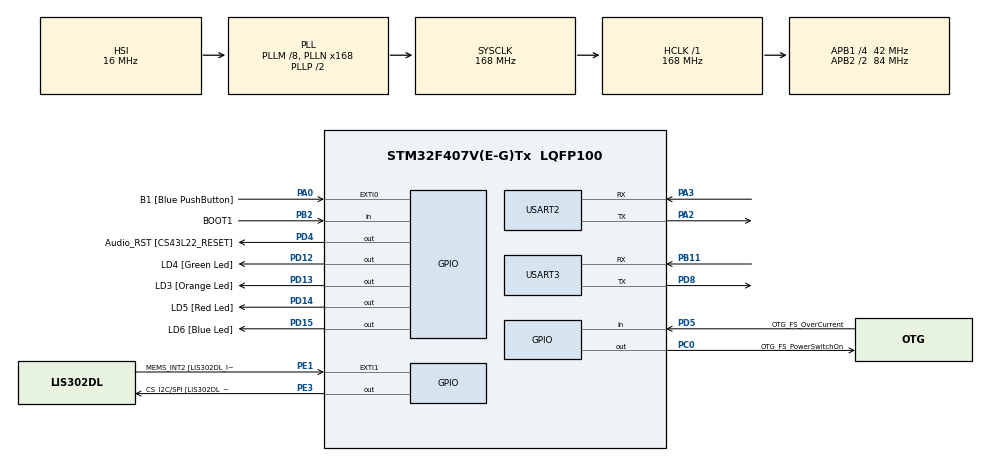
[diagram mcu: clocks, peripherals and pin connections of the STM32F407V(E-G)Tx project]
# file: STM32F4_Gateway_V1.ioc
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FREERTOS.BinarySemaphores01=myBinarySem01;myBinarySem02
FREERTOS.Mutexes01=myMutex01;myMutex02
FREERTOS.Queues01=myQueue01,16,uint16_t,NULL;myQueue02,16,uint16_t,NULL
FREERTOS.Tasks01=defaultTask,0,128,StartDefaultTask,Default;myTask02,0,128,StartTask02,Default;myTask03,0,128,StartTask03,Default;myTask04,0,128,StartTask04,Default
Mcu.Family=STM32F4
Mcu.Name=STM32F407V(E-G)Tx
Mcu.Package=LQFP100
NVIC.PriorityGroup=NVIC_PRIORITYGROUP_4
NVIC.USART2_IRQn=true\:5\:0\:false\:false\:true
NVIC.USART3_IRQn=true\:5\:0\:false\:false\:true
PA0-WKUP.GPIO_Label=B1 [Blue PushButton]
PA0-WKUP.GPIO_ModeDefaultEXTI=GPIO_MODE_EVT_RISING
PA0-WKUP.GPIO_PuPd=GPIO_NOPULL
PA0-WKUP.Signal=GPXTI0
PA10.GPIO_Label=OTG_FS_ID
PA10.GPIO_Mode=GPIO_MODE_AF_PP
PA10.GPIO_PuPd=GPIO_NOPULL
PA10.GPIO_Speed=GPIO_SPEED_FREQ_LOW
PA10.Signal=USB_OTG_FS_ID
PA11.GPIO_Label=OTG_FS_DM
PA11.GPIO_Mode=GPIO_MODE_AF_PP
PA11.GPIO_PuPd=GPIO_NOPULL
PA11.GPIO_Speed=GPIO_SPEED_FREQ_LOW
PA11.Signal=USB_OTG_FS_DM
PA12.GPIO_Label=OTG_FS_DP
PA12.GPIO_Mode=GPIO_MODE_AF_PP
PA12.GPIO_PuPd=GPIO_NOPULL
PA12.GPIO_Speed=GPIO_SPEED_FREQ_LOW
PA12.Signal=USB_OTG_FS_DP
PA13.GPIO_Label=SWDIO
PA13.Signal=SYS_JTMS-SWDIO
PA14.GPIO_Label=SWCLK
PA14.Signal=SYS_JTCK-SWCLK
PA2.Mode=Asynchronous
PA2.Signal=USART2_TX
PA3.Mode=Asynchronous
PA3.Signal=USART2_RX
PA4.GPIO_Label=I2S3_WS [CS43L22_LRCK]
PA4.GPIO_Mode=GPIO_MODE_AF_PP
PA4.GPIO_PuPd=GPIO_NOPULL
PA4.GPIO_Speed=GPIO_SPEED_FREQ_LOW
PA4.Signal=I2S3_WS
PA5.GPIO_Label=SPI1_SCK [LIS302DL_SCL/SPC]
PA5.GPIO_Mode=GPIO_MODE_AF_PP
PA5.GPIO_PuPd=GPIO_NOPULL
PA5.GPIO_Speed=GPIO_SPEED_FREQ_LOW
PA5.Signal=SPI1_SCK
PA6.GPIO_Label=SPI1_MISO [LIS302DL_SDO]
PA6.GPIO_Mode=GPIO_MODE_AF_PP
PA6.GPIO_PuPd=GPIO_NOPULL
PA6.GPIO_Speed=GPIO_SPEED_FREQ_LOW
PA6.Signal=SPI1_MISO
PA7.GPIO_Label=SPI1_MOSI [LIS302DL_SDA/SDI/SDO]
PA7.GPIO_Mode=GPIO_MODE_AF_PP
PA7.GPIO_PuPd=GPIO_NOPULL
PA7.GPIO_Speed=GPIO_SPEED_FREQ_LOW
PA7.Signal=SPI1_MOSI
PA9.GPIO_Label=VBUS_FS
PA9.GPIO_Mode=GPIO_MODE_INPUT
PA9.GPIO_PuPd=GPIO_NOPULL
PA9.Signal=USB_OTG_FS_VBUS
PB10.GPIO_Label=CLK_IN [MP45DT02_CLK]
PB10.GPIO_Mode=GPIO_MODE_AF_PP
PB10.GPIO_PuPd=GPIO_NOPULL
PB10.GPIO_Speed=GPIO_SPEED_FREQ_LOW
PB10.Signal=I2S2_CK
PB11.Mode=Asynchronous
PB11.Signal=USART3_RX
PB2.GPIO_Label=BOOT1
PB2.GPIO_Mode=GPIO_MODE_INPUT
PB2.GPIO_PuPd=GPIO_NOPULL
PB2.Signal=GPIO_Input
PB3.GPIO_Label=SWO
PB3.Signal=SYS_JTDO-SWO
PB6.GPIO_Label=Audio_SCL [CS43L22_SCL]
PB6.GPIO_Mode=GPIO_MODE_AF_OD
PB6.GPIO_PuPd=GPIO_NOPULL
PB6.GPIO_Speed=GPIO_SPEED_FREQ_LOW
PB6.Signal=I2C1_SCL
PB9.GPIO_Label=Audio_SDA [CS43L22_SDA]
PB9.GPIO_Mode=GPIO_MODE_AF_OD
PB9.GPIO_PuPd=GPIO_NOPULL
PB9.GPIO_Speed=GPIO_SPEED_FREQ_LOW
PB9.Signal=I2C1_SDA
PC0.GPIO_Label=OTG_FS_PowerSwitchOn
PC0.GPIO_PuPd=GPIO_NOPULL
PC0.GPIO_Speed=GPIO_SPEED_FREQ_LOW
PC0.Signal=GPIO_Output
PC10.GPIO_Label=I2S3_SCK [CS43L22_SCLK]
PC10.GPIO_Mode=GPIO_MODE_AF_PP
PC10.GPIO_PuPd=GPIO_NOPULL
PC10.GPIO_Speed=GPIO_SPEED_FREQ_LOW
PC10.Signal=I2S3_CK
PC12.GPIO_Label=I2S3_SD [CS43L22_SDIN]
PC12.GPIO_Mode=GPIO_MODE_AF_PP
PC12.GPIO_PuPd=GPIO_NOPULL
PC12.GPIO_Speed=GPIO_SPEED_FREQ_LOW
PC12.Signal=I2S3_SD
PC14-OSC32_IN.GPIO_Label=PC14-OSC32_IN
PC14-OSC32_IN.Signal=RCC_OSC32_IN
PC15-OSC32_OUT.GPIO_Label=PC15-OSC32_OUT
PC15-OSC32_OUT.Signal=RCC_OSC32_OUT
PC3.GPIO_Label=PDM_OUT [MP45DT02_DOUT]
PC3.GPIO_Mode=GPIO_MODE_AF_PP
PC3.GPIO_PuPd=GPIO_NOPULL
PC3.GPIO_Speed=GPIO_SPEED_FREQ_LOW
PC3.Signal=I2S2_SD
PC7.GPIO_Label=I2S3_MCK [CS43L22_MCLK]
PC7.GPIO_Mode=GPIO_MODE_AF_PP
PC7.GPIO_PuPd=GPIO_NOPULL
PC7.GPIO_Speed=GPIO_SPEED_FREQ_LOW
PC7.Signal=I2S3_MCK
PD12.GPIO_Label=LD4 [Green Led]
PD12.GPIO_PuPd=GPIO_NOPULL
PD12.GPIO_Speed=GPIO_SPEED_FREQ_LOW
PD12.Signal=GPIO_Output
PD13.GPIO_Label=LD3 [Orange Led]
PD13.GPIO_PuPd=GPIO_NOPULL
PD13.GPIO_Speed=GPIO_SPEED_FREQ_LOW
PD13.Signal=GPIO_Output
PD14.GPIO_Label=LD5 [Red Led]
PD14.GPIO_PuPd=GPIO_NOPULL
PD14.GPIO_Speed=GPIO_SPEED_FREQ_LOW
PD14.Signal=GPIO_Output
PD15.GPIO_Label=LD6 [Blue Led]
PD15.GPIO_PuPd=GPIO_NOPULL
PD15.GPIO_Speed=GPIO_SPEED_FREQ_LOW
PD15.Signal=GPIO_Output
PD4.GPIO_Label=Audio_RST [CS43L22_RESET]
PD4.GPIO_PuPd=GPIO_NOPULL
PD4.GPIO_Speed=GPIO_SPEED_FREQ_LOW
PD4.Signal=GPIO_Output
PD5.GPIO_Label=OTG_FS_OverCurrent
PD5.GPIO_Mode=GPIO_MODE_INPUT
PD5.GPIO_PuPd=GPIO_NOPULL
PD5.Signal=GPIO_Input
PD8.Mode=Asynchronous
PD8.Signal=USART3_TX
PE1.GPIO_Label=MEMS_INT2 [LIS302DL_INT2]
PE1.GPIO_ModeDefaultEXTI=GPIO_MODE_EVT_RISING
PE1.GPIO_PuPd=GPIO_NOPULL
PE1.Signal=GPXTI1
PE3.GPIO_Label=CS_I2C/SPI [LIS302DL_CS_I2C/SPI]
PE3.GPIO_PuPd=GPIO_NOPULL
PE3.GPIO_Speed=GPIO_SPEED_FREQ_LOW
PE3.Signal=GPIO_Output
PH0-OSC_IN.GPIO_Label=PH0-OSC_IN
PH0-OSC_IN.Signal=RCC_OSC_IN
PH1-OSC_OUT.GPIO_Label=PH1-OSC_OUT
PH1-OSC_OUT.Signal=RCC_OSC_OUT
ProjectManager.HeapSize=0x200
ProjectManager.StackSize=0x400
ProjectManager.TargetToolchain=MDK-ARM V5
RCC.48MHZClocksFreq_Value=48000000
RCC.AHBFreq_Value=168000000
RCC.APB1CLKDivider=RCC_HCLK_DIV4
RCC.APB1Freq_Value=42000000
RCC.APB1TimFreq_Value=84000000
RCC.APB2CLKDivider=RCC_HCLK_DIV2
RCC.APB2Freq_Value=84000000
RCC.APB2TimFreq_Value=168000000
RCC.CortexFreq_Value=168000000
RCC.HCLKFreq_Value=168000000
RCC.HSE_VALUE=8000000
RCC.HSI_VALUE=16000000
RCC.LSE_VALUE=32768
RCC.PLLM=8
RCC.PLLN=168
RCC.PLLQ=7
RCC.SYSCLKFreq_VALUE=168000000
RCC.SYSCLKSource=RCC_SYSCLKSOURCE_PLLCLK
RCC.VCOOutputFreq_Value=336000000
VP_FATFS_VS_Generic.Mode=User_defined
VP_FREERTOS_VS_ENABLE.Mode=Enabled
board=STM32F4DISCOVERY

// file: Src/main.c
/**
  ******************************************************************************
  * File Name          : main.c
  * Description        : Main program body
  ******************************************************************************
  *
  * COPYRIGHT(c) 2016 STMicroelectronics
  *
  * Redistribution and use in source and binary forms, with or without modification,
  * are permitted provided that the following conditions are met:
  *   1. Redistributions of source code must retain the above copyright notice,
  *      this list of conditions and the following disclaimer.
  *   2. Redistributions in binary form must reproduce the above copyright notice,
  *      this list of conditions and the following disclaimer in the documentation
  *      and/or other materials provided with the distribution.
  *   3. Neither the name of STMicroelectronics nor the names of its contributors
  *      may be used to endorse or promote products derived from this software
  *      without specific prior written permission.
  *
  * THIS SOFTWARE IS PROVIDED BY THE COPYRIGHT HOLDERS AND CONTRIBUTORS "AS IS"
  * AND ANY EXPRESS OR IMPLIED WARRANTIES, INCLUDING, BUT NOT LIMITED TO, THE
  * IMPLIED WARRANTIES OF MERCHANTABILITY AND FITNESS FOR A PARTICULAR PURPOSE ARE
  * DISCLAIMED. IN NO EVENT SHALL THE COPYRIGHT HOLDER OR CONTRIBUTORS BE LIABLE
  * FOR ANY DIRECT, INDIRECT, INCIDENTAL, SPECIAL, EXEMPLARY, OR CONSEQUENTIAL
  * DAMAGES (INCLUDING, BUT NOT LIMITED TO, PROCUREMENT OF SUBSTITUTE GOODS OR
  * SERVICES; LOSS OF USE, DATA, OR PROFITS; OR BUSINESS INTERRUPTION) HOWEVER
  * CAUSED AND ON ANY THEORY OF LIABILITY, WHETHER IN CONTRACT, STRICT LIABILITY,
  * OR TORT (INCLUDING NEGLIGENCE OR OTHERWISE) ARISING IN ANY WAY OUT OF THE USE
  * OF THIS SOFTWARE, EVEN IF ADVISED OF THE POSSIBILITY OF SUCH DAMAGE.
  *
  ******************************************************************************
  */
#include "stm32f4xx_hal.h"

#include "fatfs.h"

#include "string.h"
#include "print_debug.h"

UART_HandleTypeDef huart2;
UART_HandleTypeDef huart3;

osThreadId defaultTaskHandle;
osThreadId myTask02Handle;
osThreadId myTask03Handle;
osThreadId myTask04Handle;
osMessageQId myQueue01Handle;
osMessageQId myQueue02Handle;
osMutexId myMutex01Handle;
osMutexId myMutex02Handle;
osSemaphoreId myBinarySem01Handle;
osSemaphoreId myBinarySem02Handle;

/* USER CODE BEGIN PV */
/* Private variables ---------------------------------------------------------*/

/* USER CODE END PV */

void SystemClock_Config(void);
static void MX_GPIO_Init(void);
static void MX_USART2_UART_Init(void);
static void MX_USART3_UART_Init(void);
void StartDefaultTask(void const * argument);
void StartTask02(void const * argument);
void StartTask03(void const * argument);
void StartTask04(void const * argument);

/* USER CODE BEGIN PFP */
/* Private function prototypes -----------------------------------------------*/

/* USER CODE END PFP */

int main(void)
{

  /* MCU Configuration----------------------------------------------------------*/

  /* Reset of all peripherals, Initializes the Flash interface and the Systick. */
  HAL_Init();

  /* Configure the system clock */
  SystemClock_Config();

  /* Initialize all configured peripherals */
  MX_GPIO_Init();
  MX_USART2_UART_Init();
  MX_USART3_UART_Init();

	print_init(&huart2);

  /* Create the mutex(es) */
  /* definition and creation of myMutex01 */
  osMutexDef(myMutex01);
  myMutex01Handle = osMutexCreate(osMutex(myMutex01));

  /* definition and creation of myMutex02 */
  osMutexDef(myMutex02);
  myMutex02Handle = osMutexCreate(osMutex(myMutex02));

  /* Create the semaphores(s) */
  /* definition and creation of myBinarySem01 */
  osSemaphoreDef(myBinarySem01);
  myBinarySem01Handle = osSemaphoreCreate(osSemaphore(myBinarySem01), 1);

  /* definition and creation of myBinarySem02 */
  osSemaphoreDef(myBinarySem02);
  myBinarySem02Handle = osSemaphoreCreate(osSemaphore(myBinarySem02), 1);

  /* Create the thread(s) */
  /* definition and creation of defaultTask */
  osThreadDef(defaultTask, StartDefaultTask, osPriorityNormal, 0, 512);
  defaultTaskHandle = osThreadCreate(osThread(defaultTask), NULL);

  /* definition and creation of myTask02 */
  osThreadDef(myTask02, StartTask02, osPriorityNormal, 0, 512);
  myTask02Handle = osThreadCreate(osThread(myTask02), NULL);

  /* definition and creation of myTask03 */
  osThreadDef(myTask03, StartTask03, osPriorityNormal, 0, 512);
  myTask03Handle = osThreadCreate(osThread(myTask03), NULL);

  /* definition and creation of myTask04 */
  osThreadDef(myTask04, StartTask04, osPriorityNormal, 0, 512);
  myTask04Handle = osThreadCreate(osThread(myTask04), NULL);

  /* Create the queue(s) */
  /* definition and creation of myQueue01 */
  osMessageQDef(myQueue01, 16, uint16_t);
  myQueue01Handle = osMessageCreate(osMessageQ(myQueue01), NULL);

  /* definition and creation of myQueue02 */
  osMessageQDef(myQueue02, 16, uint16_t);
  myQueue02Handle = osMessageCreate(osMessageQ(myQueue02), NULL);

  /* Start scheduler */
  osKernelStart();

  /* We should never get here as control is now taken by the scheduler */

  /* Infinite loop */
  while (1)
  {

  }

}

/** System Clock Configuration
*/
void SystemClock_Config(void)
{

  RCC_OscInitTypeDef RCC_OscInitStruct;
  RCC_ClkInitTypeDef RCC_ClkInitStruct;

  __HAL_RCC_PWR_CLK_ENABLE();

  __HAL_PWR_VOLTAGESCALING_CONFIG(PWR_REGULATOR_VOLTAGE_SCALE1);

  RCC_OscInitStruct.OscillatorType = RCC_OSCILLATORTYPE_HSI;
  RCC_OscInitStruct.HSIState = RCC_HSI_ON;
  RCC_OscInitStruct.HSICalibrationValue = 16;
  RCC_OscInitStruct.PLL.PLLState = RCC_PLL_ON;
  RCC_OscInitStruct.PLL.PLLSource = RCC_PLLSOURCE_HSI;
  RCC_OscInitStruct.PLL.PLLM = 8;
  RCC_OscInitStruct.PLL.PLLN = 168;
  RCC_OscInitStruct.PLL.PLLP = RCC_PLLP_DIV2;
  RCC_OscInitStruct.PLL.PLLQ = 7;
  HAL_RCC_OscConfig(&RCC_OscInitStruct);

  RCC_ClkInitStruct.ClockType = RCC_CLOCKTYPE_HCLK|RCC_CLOCKTYPE_SYSCLK
                              |RCC_CLOCKTYPE_PCLK1|RCC_CLOCKTYPE_PCLK2;
  RCC_ClkInitStruct.SYSCLKSource = RCC_SYSCLKSOURCE_PLLCLK;
  RCC_ClkInitStruct.AHBCLKDivider = RCC_SYSCLK_DIV1;
  RCC_ClkInitStruct.APB1CLKDivider = RCC_HCLK_DIV4;
  RCC_ClkInitStruct.APB2CLKDivider = RCC_HCLK_DIV2;
  HAL_RCC_ClockConfig(&RCC_ClkInitStruct, FLASH_LATENCY_5);

  HAL_SYSTICK_Config(HAL_RCC_GetHCLKFreq()/1000);

  HAL_SYSTICK_CLKSourceConfig(SYSTICK_CLKSOURCE_HCLK);

  /* SysTick_IRQn interrupt configuration */
  HAL_NVIC_SetPriority(SysTick_IRQn, 15, 0);
}

/* USART2 init function */
void MX_USART2_UART_Init(void)
{

  huart2.Instance = USART2;
  huart2.Init.BaudRate = 115200;
  huart2.Init.WordLength = UART_WORDLENGTH_8B;
  huart2.Init.StopBits = UART_STOPBITS_1;
  huart2.Init.Parity = UART_PARITY_NONE;
  huart2.Init.Mode = UART_MODE_TX_RX;
  huart2.Init.HwFlowCtl = UART_HWCONTROL_NONE;
  huart2.Init.OverSampling = UART_OVERSAMPLING_16;
  HAL_UART_Init(&huart2);

}

/* USART3 init function */
void MX_USART3_UART_Init(void)
{

  huart3.Instance = USART3;
  huart3.Init.BaudRate = 115200;
  huart3.Init.WordLength = UART_WORDLENGTH_8B;
  huart3.Init.StopBits = UART_STOPBITS_1;
  huart3.Init.Parity = UART_PARITY_NONE;
  huart3.Init.Mode = UART_MODE_TX_RX;
  huart3.Init.HwFlowCtl = UART_HWCONTROL_NONE;
  huart3.Init.OverSampling = UART_OVERSAMPLING_16;
  HAL_UART_Init(&huart3);

}

/** Configure pins as
        * Analog
        * Input
        * Output
        * EVENT_OUT
        * EXTI
     PC3   ------> I2S2_SD
     PA4   ------> I2S3_WS
     PA5   ------> SPI1_SCK
     PA6   ------> SPI1_MISO
     PA7   ------> SPI1_MOSI
     PB10   ------> I2S2_CK
     PC7   ------> I2S3_MCK
     PA9   ------> USB_OTG_FS_VBUS
     PA10   ------> USB_OTG_FS_ID
     PA11   ------> USB_OTG_FS_DM
     PA12   ------> USB_OTG_FS_DP
     PC10   ------> I2S3_CK
     PC12   ------> I2S3_SD
     PB6   ------> I2C1_SCL
     PB9   ------> I2C1_SDA
*/
void MX_GPIO_Init(void)
{

  GPIO_InitTypeDef GPIO_InitStruct;

  /* GPIO Ports Clock Enable */
  __HAL_RCC_GPIOE_CLK_ENABLE();
  __HAL_RCC_GPIOC_CLK_ENABLE();
  __HAL_RCC_GPIOH_CLK_ENABLE();
  __HAL_RCC_GPIOA_CLK_ENABLE();
  __HAL_RCC_GPIOB_CLK_ENABLE();
  __HAL_RCC_GPIOD_CLK_ENABLE();

  /*Configure GPIO pin Output Level */
  HAL_GPIO_WritePin(CS_I2C_SPI_GPIO_Port, CS_I2C_SPI_Pin, GPIO_PIN_RESET);

  /*Configure GPIO pin Output Level */
  HAL_GPIO_WritePin(OTG_FS_PowerSwitchOn_GPIO_Port, OTG_FS_PowerSwitchOn_Pin, GPIO_PIN_RESET);

  /*Configure GPIO pin Output Level */
  HAL_GPIO_WritePin(GPIOD, LD4_Pin|LD3_Pin|LD5_Pin|LD6_Pin
                          |Audio_RST_Pin, GPIO_PIN_RESET);

  /*Configure GPIO pin : CS_I2C_SPI_Pin */
  GPIO_InitStruct.Pin = CS_I2C_SPI_Pin;
  GPIO_InitStruct.Mode = GPIO_MODE_OUTPUT_PP;
  GPIO_InitStruct.Pull = GPIO_NOPULL;
  GPIO_InitStruct.Speed = GPIO_SPEED_FREQ_LOW;
  HAL_GPIO_Init(CS_I2C_SPI_GPIO_Port, &GPIO_InitStruct);

  /*Configure GPIO pin : OTG_FS_PowerSwitchOn_Pin */
  GPIO_InitStruct.Pin = OTG_FS_PowerSwitchOn_Pin;
  GPIO_InitStruct.Mode = GPIO_MODE_OUTPUT_PP;
  GPIO_InitStruct.Pull = GPIO_NOPULL;
  GPIO_InitStruct.Speed = GPIO_SPEED_FREQ_LOW;
  HAL_GPIO_Init(OTG_FS_PowerSwitchOn_GPIO_Port, &GPIO_InitStruct);

  /*Configure GPIO pin : PDM_OUT_Pin */
  GPIO_InitStruct.Pin = PDM_OUT_Pin;
  GPIO_InitStruct.Mode = GPIO_MODE_AF_PP;
  GPIO_InitStruct.Pull = GPIO_NOPULL;
  GPIO_InitStruct.Speed = GPIO_SPEED_FREQ_LOW;
  GPIO_InitStruct.Alternate = GPIO_AF5_SPI2;
  HAL_GPIO_Init(PDM_OUT_GPIO_Port, &GPIO_InitStruct);

  /*Configure GPIO pin : B1_Pin */
  GPIO_InitStruct.Pin = B1_Pin;
  GPIO_InitStruct.Mode = GPIO_MODE_EVT_RISING;
  GPIO_InitStruct.Pull = GPIO_NOPULL;
  HAL_GPIO_Init(B1_GPIO_Port, &GPIO_InitStruct);

  /*Configure GPIO pin : PA4 */
  GPIO_InitStruct.Pin = GPIO_PIN_4;
  GPIO_InitStruct.Mode = GPIO_MODE_AF_PP;
  GPIO_InitStruct.Pull = GPIO_NOPULL;
  GPIO_InitStruct.Speed = GPIO_SPEED_FREQ_LOW;
  GPIO_InitStruct.Alternate = GPIO_AF6_SPI3;
  HAL_GPIO_Init(GPIOA, &GPIO_InitStruct);

  /*Configure GPIO pins : PA5 PA6 PA7 */
  GPIO_InitStruct.Pin = GPIO_PIN_5|GPIO_PIN_6|GPIO_PIN_7;
  GPIO_InitStruct.Mode = GPIO_MODE_AF_PP;
  GPIO_InitStruct.Pull = GPIO_NOPULL;
  GPIO_InitStruct.Speed = GPIO_SPEED_FREQ_LOW;
  GPIO_InitStruct.Alternate = GPIO_AF5_SPI1;
  HAL_GPIO_Init(GPIOA, &GPIO_InitStruct);

  /*Configure GPIO pin : BOOT1_Pin */
  GPIO_InitStruct.Pin = BOOT1_Pin;
  GPIO_InitStruct.Mode = GPIO_MODE_INPUT;
  GPIO_InitStruct.Pull = GPIO_NOPULL;
  HAL_GPIO_Init(BOOT1_GPIO_Port, &GPIO_InitStruct);

  /*Configure GPIO pin : CLK_IN_Pin */
  GPIO_InitStruct.Pin = CLK_IN_Pin;
  GPIO_InitStruct.Mode = GPIO_MODE_AF_PP;
  GPIO_InitStruct.Pull = GPIO_NOPULL;
  GPIO_InitStruct.Speed = GPIO_SPEED_FREQ_LOW;
  GPIO_InitStruct.Alternate = GPIO_AF5_SPI2;
  HAL_GPIO_Init(CLK_IN_GPIO_Port, &GPIO_InitStruct);

  /*Configure GPIO pins : LD4_Pin LD3_Pin LD5_Pin LD6_Pin
                           Audio_RST_Pin */
  GPIO_InitStruct.Pin = LD4_Pin|LD3_Pin|LD5_Pin|LD6_Pin
                          |Audio_RST_Pin;
  GPIO_InitStruct.Mode = GPIO_MODE_OUTPUT_PP;
  GPIO_InitStruct.Pull = GPIO_NOPULL;
  GPIO_InitStruct.Speed = GPIO_SPEED_FREQ_LOW;
  HAL_GPIO_Init(GPIOD, &GPIO_InitStruct);

  /*Configure GPIO pins : PC7 I2S3_SCK_Pin PC12 */
  GPIO_InitStruct.Pin = GPIO_PIN_7|I2S3_SCK_Pin|GPIO_PIN_12;
  GPIO_InitStruct.Mode = GPIO_MODE_AF_PP;
  GPIO_InitStruct.Pull = GPIO_NOPULL;
  GPIO_InitStruct.Speed = GPIO_SPEED_FREQ_LOW;
  GPIO_InitStruct.Alternate = GPIO_AF6_SPI3;
  HAL_GPIO_Init(GPIOC, &GPIO_InitStruct);

  /*Configure GPIO pin : VBUS_FS_Pin */
  GPIO_InitStruct.Pin = VBUS_FS_Pin;
  GPIO_InitStruct.Mode = GPIO_MODE_INPUT;
  GPIO_InitStruct.Pull = GPIO_NOPULL;
  HAL_GPIO_Init(VBUS_FS_GPIO_Port, &GPIO_InitStruct);

  /*Configure GPIO pins : OTG_FS_ID_Pin OTG_FS_DM_Pin OTG_FS_DP_Pin */
  GPIO_InitStruct.Pin = OTG_FS_ID_Pin|OTG_FS_DM_Pin|OTG_FS_DP_Pin;
  GPIO_InitStruct.Mode = GPIO_MODE_AF_PP;
  GPIO_InitStruct.Pull = GPIO_NOPULL;
  GPIO_InitStruct.Speed = GPIO_SPEED_FREQ_LOW;
  GPIO_InitStruct.Alternate = GPIO_AF10_OTG_FS;
  HAL_GPIO_Init(GPIOA, &GPIO_InitStruct);

  /*Configure GPIO pin : OTG_FS_OverCurrent_Pin */
  GPIO_InitStruct.Pin = OTG_FS_OverCurrent_Pin;
  GPIO_InitStruct.Mode = GPIO_MODE_INPUT;
  GPIO_InitStruct.Pull = GPIO_NOPULL;
  HAL_GPIO_Init(OTG_FS_OverCurrent_GPIO_Port, &GPIO_InitStruct);

  /*Configure GPIO pins : Audio_SCL_Pin Audio_SDA_Pin */
  GPIO_InitStruct.Pin = Audio_SCL_Pin|Audio_SDA_Pin;
  GPIO_InitStruct.Mode = GPIO_MODE_AF_OD;
  GPIO_InitStruct.Pull = GPIO_PULLUP;
  GPIO_InitStruct.Speed = GPIO_SPEED_FREQ_LOW;
  GPIO_InitStruct.Alternate = GPIO_AF4_I2C1;
  HAL_GPIO_Init(GPIOB, &GPIO_InitStruct);

  /*Configure GPIO pin : MEMS_INT2_Pin */
  GPIO_InitStruct.Pin = MEMS_INT2_Pin;
  GPIO_InitStruct.Mode = GPIO_MODE_EVT_RISING;
  GPIO_InitStruct.Pull = GPIO_NOPULL;
  HAL_GPIO_Init(MEMS_INT2_GPIO_Port, &GPIO_InitStruct);

}

/* StartDefaultTask function */
void StartDefaultTask(void const * argument)
{
	uint8_t name[10];
  /* init code for FATFS */
  //MX_FATFS_Init();

  /* USER CODE BEGIN 5 */
  /* Infinite loop */

	memset(name,0,sizeof(name));
  for(;;)
  {
		//printf("Hello.\n");
		//memcpy(name,(const void *)"Hello55",7);
		//HAL_UART_Transmit(&huart2,name,10,100);
		print_debug_semph(0,"Test_print_1_(%d)\n",111);
		//HAL_GPIO_TogglePin(GPIOD, LD3_Pin);
    osDelay(1000);
  }
  /* USER CODE END 5 */
}

/* StartTask02 function */
void StartTask02(void const * argument)
{
	uint8_t name[20];
  /* USER CODE BEGIN StartTask02 */
	HAL_GPIO_TogglePin(GPIOD, LD3_Pin);
	memset(name,0,sizeof(name));
  /* Infinite loop */
  for(;;)
  {
		memcpy(name,(const void *)"Hello121223345dfghjk",20);
//		HAL_UART_Transmit(&huart2,name,10,100);
		/*Configure GPIO pin Output Level */
		//print_debug(0,"Test_print_2_(%d)\n",222);
		HAL_GPIO_TogglePin(GPIOD, LD4_Pin);
		print_payload(0,name,20);
    osDelay(1000);
  }
  /* USER CODE END StartTask02 */
}

/* StartTask03 function */
void StartTask03(void const * argument)
{
  /* USER CODE BEGIN StartTask03 */
  /* Infinite loop */
  for(;;)
  {
		//print_debug(0,"Test_print_3_(%d)\n",333);
		HAL_GPIO_TogglePin(GPIOD, LD5_Pin);
    osDelay(1000);
  }
  /* USER CODE END StartTask03 */
}

/* StartTask04 function */
void StartTask04(void const * argument)
{
  /* USER CODE BEGIN StartTask04 */
	uint8_t i = 0;
  /* Infinite loop */
  for(;;)
  {
		print_debug_semph(0,"Test_print_4_(%d)\n",444);
		HAL_GPIO_TogglePin(GPIOD, LD6_Pin);
//		for(i=41;i<127;i++){
//			print_debug_semph(0,"%c",i);
//		}
//		print_debug(0,"\n");
    osDelay(1000);
  }
  /* USER CODE END StartTask04 */
}

/************************ (C) COPYRIGHT STMicroelectronics *****END OF FILE****/
